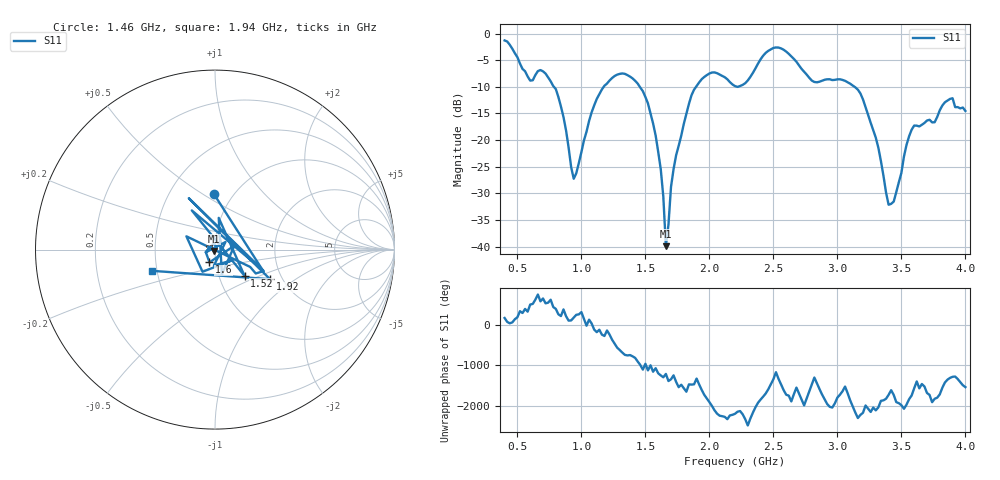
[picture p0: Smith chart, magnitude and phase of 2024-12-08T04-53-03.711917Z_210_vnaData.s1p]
!Created with skrf (http://scikit-rf.org).
# Hz S RI R 50.0
!freq ReS11 ImS11
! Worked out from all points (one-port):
!   181 points, 400 MHz to 4 GHz, reference 50 ohm
!   lowest |S11| = -39.9 dB at 1.66 GHz (marker M1), VSWR 1.02, Z = 49.4 - j0.771 ohm
!   |S11| at or under -10 dB: 784.9 MHz to 1.174 GHz (389.4 MHz wide, 39.8 % of centre); 1.456 GHz to 1.896 GHz (439.7 MHz wide, 26.2 % of centre); 3.134 GHz to end of sweep (the widest 3 of 4)
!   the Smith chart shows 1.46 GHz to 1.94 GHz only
!   S11 on the Smith chart (normalised r, x): 1.46 GHz: 0.81, +0.56; 1.52 GHz: 1.32, -0.41; 1.6 GHz: 0.93, -0.13; 1.92 GHz: 1.73, -0.65; 1.94 GHz: 0.47, -0.13
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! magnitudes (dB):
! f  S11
! 400 MHz  -1.3
! 600 MHz  -8.8
! 720 MHz  -7.5
! 860 MHz  -15.7
! 940 MHz  -27.3
! 1.12 GHz  -12.3
! 1.3 GHz  -7.6
! 1.46 GHz  -10.1
! 1.52 GHz  -13.1
! 1.6 GHz  -22.2
! 1.64 GHz  -30.7
! 1.66 GHz  -39.9
! 1.7 GHz  -28.8
! 1.76 GHz  -21.1
! 1.92 GHz  -9.2
! 1.94 GHz  -8.6
! 2.2 GHz  -9.9
! 2.5 GHz  -2.7
! 2.66 GHz  -4.8
! 2.82 GHz  -9.1
! 3.1 GHz  -9.4
! 3.18 GHz  -11.3
! 3.3 GHz  -19.6
! 3.4 GHz  -32.2
! 3.44 GHz  -31.6
! 3.56 GHz  -19.3
! 3.88 GHz  -12.3
! 4 GHz  -14.5
